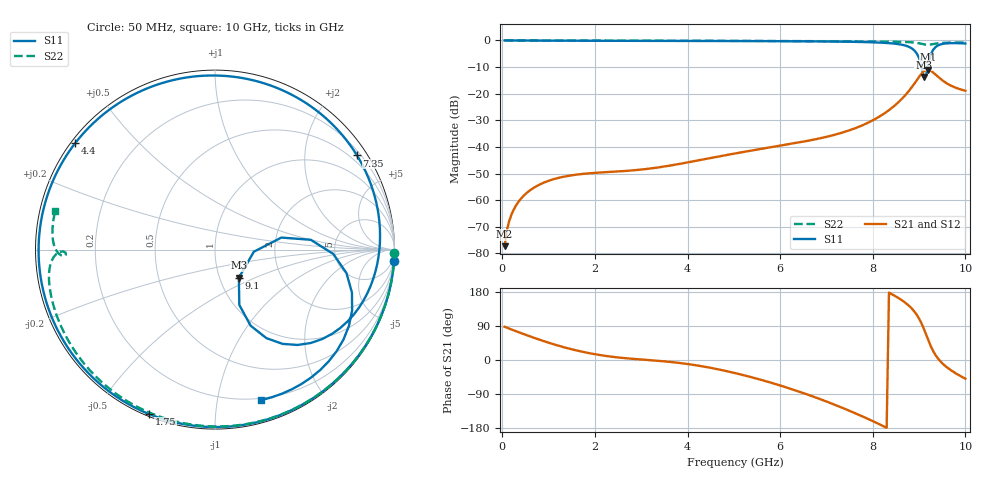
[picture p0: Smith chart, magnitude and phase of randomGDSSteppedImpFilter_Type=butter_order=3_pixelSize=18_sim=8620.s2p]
! freq	dB(S11)	phase(S11)	dB(S12)	phase(S12)
!  dB(S21)	phase(S21)	dB(S22)	phase(S22)
!S-par simulation data
#  GHz  S  DB  R 50
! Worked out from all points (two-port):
!   200 points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, 50 MHz to 10 GHz, reference 50 ohm
!   highest |S21| = -11.00 dB at 9.2 GHz (marker M1); lowest = -77.3 dB at 50 MHz (marker M2)
!   |S21| within 3 dB of the highest: 8.988 GHz to 9.433 GHz (444.8 MHz wide, 4.83 % of centre)
!   lowest |S11| = -13.7 dB at 9.1 GHz (marker M3), VSWR 1.52, Z = 61.7 - j20.2 ohm
!   |S11| at or under -10 dB: 9.056 GHz to 9.184 GHz (127.9 MHz wide, 1.4 % of centre)
!   |S22| runs from -1.6 to 0.0 dB; largest |S21 - S12| = 0
!   S11 on the Smith chart (normalised r, x): 50 MHz: 0, -31; 1.75 GHz: 0.01, -0.68; 4.4 GHz: 0.01, +0.34; 7.35 GHz: 0.31, +3.29; 9.1 GHz: 1.23, -0.40; 10 GHz: 0.18, -1.34
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0.05  -0.00 -3.7  -77.31 87.6  -77.31 87.6  -0.00 -1.1
0.2  -0.02 -14.7  -65.34 80.4  -65.34 80.4  -0.00 -4.3
0.5  -0.05 -36.1  -57.72 66.7  -57.72 66.7  -0.01 -10.8
1.1  -0.09 -75.6  -52.18 41.8  -52.18 41.8  -0.03 -23.6
1.75  -0.11 -111.9  -50.13 21.2  -50.13 21.2  -0.05 -37.2
2.55  -0.13 -148.7  -49.17 6.0  -49.17 6.0  -0.07 -53.6
3.4  -0.15 178.2  -47.64 -2.5  -47.64 -2.5  -0.09 -70.5
4.4  -0.18 142.7  -44.51 -18.4  -44.51 -18.4  -0.13 -89.6
5.05  -0.21 120.1  -42.39 -35.2  -42.39 -35.2  -0.16 -101.7
5.9  -0.26 89.8  -39.85 -63.5  -39.85 -63.5  -0.20 -117.2
6.7  -0.34 59.7  -37.36 -95.9  -37.36 -95.9  -0.26 -131.7
7.35  -0.45 33.5  -34.58 -126.6  -34.58 -126.6  -0.32 -143.7
8.35  -1.01 -13.1  -26.19 177.7  -26.19 177.7  -0.45 -163.2
8.85  -3.06 -49.1  -17.39 134.8  -17.39 134.8  -0.71 -174.8
9  -6.60 -64.9  -13.70 109.2  -13.70 109.2  -1.06 -178.4
9.1  -13.74 -49.7  -11.61 83.1  -11.61 83.1  -1.45 -179.3
9.15  -13.28 -3.1  -11.07 67.5  -11.07 67.5  -1.59 -178.8
9.2  -8.50 10.3  -11.00 51.8  -11.00 51.8  -1.60 -178.1
9.3  -3.62 -2.1  -11.99 24.6  -11.99 24.6  -1.36 -177.8
9.45  -1.56 -23.9  -14.26 -2.2  -14.26 -2.2  -1.00 179.5
9.7  -1.00 -48.9  -17.08 -28.1  -17.08 -28.1  -0.80 173.4
10  -1.14 -72.9  -18.89 -49.4  -18.89 -49.4  -0.76 166.2
